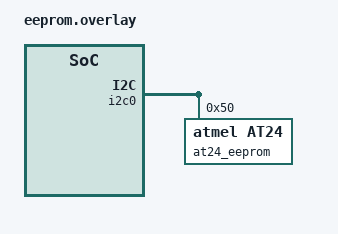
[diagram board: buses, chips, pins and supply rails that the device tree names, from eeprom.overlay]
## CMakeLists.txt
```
# SPDX-License-Identifier: Apache-2.0

cmake_minimum_required(VERSION 3.20.0)
find_package(Zephyr REQUIRED HINTS $ENV{ZEPHYR_BASE})
project(eeprom-test)

FILE(GLOB app_sources src/*.c)
target_sources(app PRIVATE ${app_sources})
```

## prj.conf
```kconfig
CONFIG_PRINTK=y
CONFIG_EEPROM=y
CONFIG_MAIN_STACK_SIZE=2048
CONFIG_HEAP_MEM_POOL_SIZE=512
CONFIG_GPIO=y
```

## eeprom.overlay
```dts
/ {
    aliases {
        eeprom-0 = &at24_eeprom;
    };
};

&i2c0 {
	status = "okay";

	at24_eeprom: eeprom@50 {
		compatible = "atmel,at24";
		status = "okay";

		reg = <0x50>;
		size = <4096>;
		pagesize = <32>;
		address-width = <8>;
		timeout = <5>;
	};
};
```

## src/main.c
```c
/*
 * Copyright (c) 2021 Thomas Stranger
 *
 * SPDX-License-Identifier: Apache-2.0
 */

#include <zephyr/kernel.h>
#include <zephyr/sys/printk.h>
#include <zephyr/drivers/eeprom.h>
#include <zephyr/device.h>

#define EEPROM_SAMPLE_OFFSET 0
//#define EEPROM_SAMPLE_MAGIC  0xEE9703
#define EEPROM_SAMPLE_MAGIC 0x7031E01

struct perisistant_values {
	uint32_t magic;
	uint32_t boot_count;
};

/*
 * Get a device structure from a devicetree node with alias eeprom-0
 */
static const struct device *get_eeprom_device(void)
{
	const struct device *const dev = DEVICE_DT_GET(DT_ALIAS(eeprom_0));

	if (!device_is_ready(dev)) {
		printk("\nError: Device \"%s\" is not ready; "
		       "check the driver initialization logs for errors.\n",
		       dev->name);
		return NULL;
	}

	printk("Found EEPROM device \"%s\"\n", dev->name);
	return dev;
}

int main(void)
{
	const struct device *eeprom = get_eeprom_device();
	size_t eeprom_size;
	struct perisistant_values values;
	int rc;

	if (eeprom == NULL) {
		return 0;
	}

	eeprom_size = eeprom_get_size(eeprom);
	printk("Using eeprom with size of: %zu.\n", eeprom_size);

	rc = eeprom_read(eeprom, EEPROM_SAMPLE_OFFSET, &values, sizeof(values));
	if (rc < 0) {
		printk("Error: Couldn't read eeprom: err: %d.\n", rc);
		return 0;
	}

	printk("Magic = %x\n", values.magic);
	if (values.magic != EEPROM_SAMPLE_MAGIC) {
		printk("going to initialize data\n");
		values.magic = EEPROM_SAMPLE_MAGIC;
		values.boot_count = 0;
	}

	printk("Device booted %d times.\n", values.boot_count);

	values.boot_count++;

	rc = eeprom_write(eeprom, EEPROM_SAMPLE_OFFSET, &values, sizeof(values));
	if (rc < 0) {
		printk("Error: Couldn't write eeprom: err:%d.\n", rc);
		return 0;
	}

	rc = eeprom_read(eeprom, EEPROM_SAMPLE_OFFSET, &values, sizeof(values));
	printk("Magic = %x\n", values.magic);
	printk("Device booted %d times.\n", values.boot_count);

	printk("Reset the MCU to see the increasing boot counter.\n\n");
	return 0;
}
```
